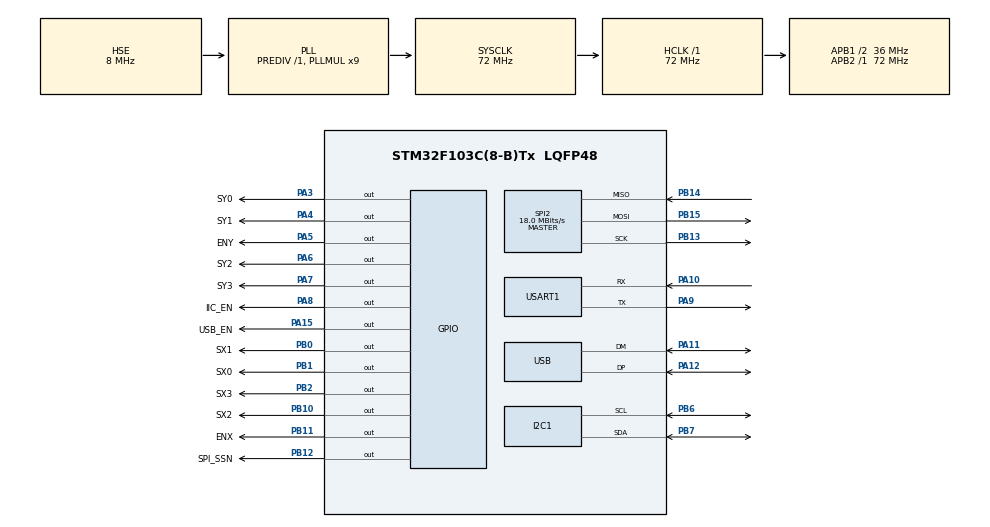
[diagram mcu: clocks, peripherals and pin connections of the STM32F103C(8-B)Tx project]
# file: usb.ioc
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Mcu.Family=STM32F1
Mcu.Name=STM32F103C(8-B)Tx
Mcu.Package=LQFP48
NVIC.PriorityGroup=NVIC_PRIORITYGROUP_4
NVIC.USB_LP_CAN1_RX0_IRQn=true\:0\:0\:false\:false\:true\:false\:true\:true
PA10.Mode=Asynchronous
PA10.Signal=USART1_RX
PA11.Mode=Device
PA11.Signal=USB_DM
PA12.Mode=Device
PA12.Signal=USB_DP
PA13.Mode=Serial_Wire
PA13.Signal=SYS_JTMS-SWDIO
PA14.Mode=Serial_Wire
PA14.Signal=SYS_JTCK-SWCLK
PA15.GPIO_Label=USB_EN
PA15.Signal=GPIO_Output
PA3.GPIO_Label=SY0
PA3.Signal=GPIO_Output
PA4.GPIO_Label=SY1
PA4.Signal=GPIO_Output
PA5.GPIO_Label=ENY
PA5.Signal=GPIO_Output
PA6.GPIO_Label=SY2
PA6.Signal=GPIO_Output
PA7.GPIO_Label=SY3
PA7.Signal=GPIO_Output
PA8.GPIO_Label=IIC_EN
PA8.Signal=GPIO_Output
PA9.Mode=Asynchronous
PA9.Signal=USART1_TX
PB0.GPIO_Label=SX1
PB0.Signal=GPIO_Output
PB1.GPIO_Label=SX0
PB1.Signal=GPIO_Output
PB10.GPIO_Label=SX2
PB10.Signal=GPIO_Output
PB11.GPIO_Label=ENX
PB11.Signal=GPIO_Output
PB12.GPIO_Label=SPI_SSN
PB12.Signal=GPIO_Output
PB13.Mode=Full_Duplex_Master
PB13.Signal=SPI2_SCK
PB14.Mode=Full_Duplex_Master
PB14.Signal=SPI2_MISO
PB15.Mode=Full_Duplex_Master
PB15.Signal=SPI2_MOSI
PB2.GPIO_Label=SX3
PB2.Signal=GPIO_Output
PB6.Mode=I2C
PB6.Signal=I2C1_SCL
PB7.Mode=I2C
PB7.Signal=I2C1_SDA
PD0-OSC_IN.Mode=HSE-External-Oscillator
PD0-OSC_IN.Signal=RCC_OSC_IN
PD1-OSC_OUT.Mode=HSE-External-Oscillator
PD1-OSC_OUT.Signal=RCC_OSC_OUT
ProjectManager.HeapSize=0x200
ProjectManager.StackSize=0x1000
ProjectManager.TargetToolchain=MDK-ARM V5
RCC.AHBFreq_Value=72000000
RCC.APB1CLKDivider=RCC_HCLK_DIV2
RCC.APB1Freq_Value=36000000
RCC.APB1TimFreq_Value=72000000
RCC.APB2Freq_Value=72000000
RCC.APB2TimFreq_Value=72000000
RCC.HCLKFreq_Value=72000000
RCC.PLLMUL=RCC_PLL_MUL9
RCC.SYSCLKFreq_VALUE=72000000
RCC.SYSCLKSource=RCC_SYSCLKSOURCE_PLLCLK
RCC.USBFreq_Value=48000000
RCC.USBPrescaler=RCC_USBCLKSOURCE_PLL_DIV1_5
SPI2.CalculateBaudRate=18.0 MBits/s
SPI2.Direction=SPI_DIRECTION_2LINES
SPI2.Mode=SPI_MODE_MASTER
SPI2.VirtualType=VM_MASTER
TIM1.Channel-Output\ Compare1\ No\ Output=TIM_CHANNEL_1
USART1.VirtualMode=VM_ASYNC
USB_DEVICE.CLASS_NAME_FS=CDC
USB_DEVICE.VirtualMode=Cdc
USB_DEVICE.VirtualModeFS=Cdc_FS
VP_TIM1_VS_no_output1.Mode=Output Compare1 No Output
VP_USB_DEVICE_VS_USB_DEVICE_CDC_FS.Mode=CDC_FS
board=custom

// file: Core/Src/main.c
/* USER CODE BEGIN Header */
/**
  ******************************************************************************
  * @file           : main.c
  * @brief          : Main program body
  ******************************************************************************
  * @attention
  *
  * Copyright (c) 2025 STMicroelectronics.
  * All rights reserved.
  *
  * This software is licensed under terms that can be found in the LICENSE file
  * in the root directory of this software component.
  * If no LICENSE file comes with this software, it is provided AS-IS.
  *
  ******************************************************************************
  */
/* USER CODE END Header */
#include "main.h"
#include "i2c.h"
#include "spi.h"
#include "tim.h"
#include "usart.h"
#include "usb_device.h"
#include "gpio.h"

/* USER CODE BEGIN Includes */
#include "pcap04.h"
#include "cd74hc4067.h"
#include "usb_common.h"
#include "usb_template.h"
/* USER CODE END Includes */

void SystemClock_Config(void);

int main(void)
{

  /* MCU Configuration--------------------------------------------------------*/

  /* Reset of all peripherals, Initializes the Flash interface and the Systick. */
  HAL_Init();

  /* Configure the system clock */
  SystemClock_Config();

  /* Initialize all configured peripherals */
  MX_GPIO_Init();
  MX_USB_DEVICE_Init();
  MX_I2C1_Init();
  MX_SPI2_Init();
  MX_USART1_UART_Init();
  MX_TIM1_Init();
  /* USER CODE BEGIN 2 */
  // Initialize GPIO for I2C enable
  HAL_GPIO_WritePin(IIC_EN_GPIO_Port, IIC_EN_Pin, GPIO_PIN_RESET);

  // Initialize CD74HC4067 multiplexer
  MUX_Init();

  // Wait for USB enumeration to complete
  HAL_Delay(2000);

  // Initialize PCAP04
  if(PCap04_Test() != 1)
  {
    // PCAP04 communication failed, but continue initialization
    // Error can be reported via USB commands
  }

  PCap04_Init_Tow();

  // Configure PCAP04 for mutual capacitance mode
  // PC0/PC1: Reference capacitance
  // PC2/PC3: Measurement capacitance
  PCap04_SetMutualCapacitanceMode();
  HAL_Delay(50);

  // Set float conversion flag (1=enabled, 0=disabled)
  PCap04_SetFloatConversion(1);  // Enable float conversion
  HAL_Delay(50);

  // Initialize USB command system
  USB_Common_Init();

  // Initialize template system
  Template_Init();

  // Wait for USB to be fully ready
  HAL_Delay(500);

  /* USER CODE END 2 */

  /* Infinite loop */
  while (1)
  {

    /* USER CODE BEGIN 3 */
    // Check if scan should be triggered (set by timer interrupt)
    extern bool USB_CheckScanTrigger(void);
    extern void USB_SingleScan(void);

    if (USB_CheckScanTrigger()) {
      // Execute scan at current position
      USB_SingleScan();
    }

    HAL_Delay(1);  // Small delay to prevent excessive CPU usage
  }
  /* USER CODE END 3 */
}

void SystemClock_Config(void)
{
  RCC_OscInitTypeDef RCC_OscInitStruct = {0};
  RCC_ClkInitTypeDef RCC_ClkInitStruct = {0};
  RCC_PeriphCLKInitTypeDef PeriphClkInit = {0};

  /** Initializes the RCC Oscillators according to the specified parameters
  * in the RCC_OscInitTypeDef structure.
  */
  RCC_OscInitStruct.OscillatorType = RCC_OSCILLATORTYPE_HSE;
  RCC_OscInitStruct.HSEState = RCC_HSE_ON;
  RCC_OscInitStruct.HSEPredivValue = RCC_HSE_PREDIV_DIV1;
  RCC_OscInitStruct.HSIState = RCC_HSI_ON;
  RCC_OscInitStruct.PLL.PLLState = RCC_PLL_ON;
  RCC_OscInitStruct.PLL.PLLSource = RCC_PLLSOURCE_HSE;
  RCC_OscInitStruct.PLL.PLLMUL = RCC_PLL_MUL9;
  if (HAL_RCC_OscConfig(&RCC_OscInitStruct) != HAL_OK)
  {
    Error_Handler();
  }

  /** Initializes the CPU, AHB and APB buses clocks
  */
  RCC_ClkInitStruct.ClockType = RCC_CLOCKTYPE_HCLK|RCC_CLOCKTYPE_SYSCLK
                              |RCC_CLOCKTYPE_PCLK1|RCC_CLOCKTYPE_PCLK2;
  RCC_ClkInitStruct.SYSCLKSource = RCC_SYSCLKSOURCE_PLLCLK;
  RCC_ClkInitStruct.AHBCLKDivider = RCC_SYSCLK_DIV1;
  RCC_ClkInitStruct.APB1CLKDivider = RCC_HCLK_DIV2;
  RCC_ClkInitStruct.APB2CLKDivider = RCC_HCLK_DIV1;

  if (HAL_RCC_ClockConfig(&RCC_ClkInitStruct, FLASH_LATENCY_2) != HAL_OK)
  {
    Error_Handler();
  }
  PeriphClkInit.PeriphClockSelection = RCC_PERIPHCLK_USB;
  PeriphClkInit.UsbClockSelection = RCC_USBCLKSOURCE_PLL_DIV1_5;
  if (HAL_RCCEx_PeriphCLKConfig(&PeriphClkInit) != HAL_OK)
  {
    Error_Handler();
  }
}

void Error_Handler(void)
{
  __disable_irq();
  while (1)
  {
  }
}
